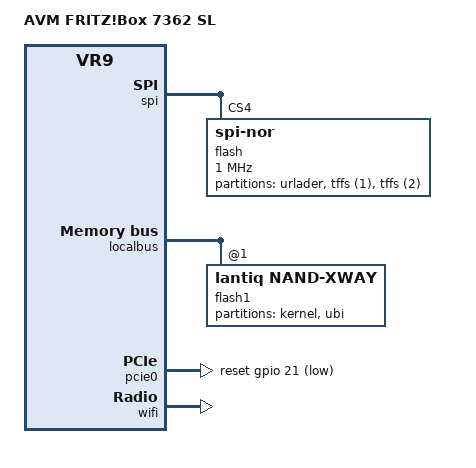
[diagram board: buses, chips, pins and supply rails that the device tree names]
// SPDX-License-Identifier: GPL-2.0-or-later OR MIT

#include "vr9_avm_fritz736x.dtsi"

/ {
	compatible = "avm,fritz7362sl", "avm,fritz736x", "lantiq,xway", "lantiq,vr9";
	model = "AVM FRITZ!Box 7362 SL";
};

&gpio {
	pinctrl-names = "default";
	pinctrl-0 = <&state_default>;

	state_default: pinmux {
		pcie-rst {
			lantiq,pins = "io21";
			lantiq,pull = <0>;
			lantiq,output = <1>;
		};

		phy-rst {
			lantiq,pins = "io44", "io45";
			lantiq,pull = <0>;
			lantiq,open-drain;
			lantiq,output = <1>;
		};
	};

};

&spi {
	status = "okay";

	flash@4 {
		compatible = "jedec,spi-nor";
		reg = <4>;
		spi-max-frequency = <1000000>;

		partitions {
			compatible = "fixed-partitions";
			#address-cells = <1>;
			#size-cells = <1>;

			urlader: partition@0 {
				reg = <0x0 0x40000>;
				label = "urlader";
				read-only;

				nvmem-layout {
					compatible = "fixed-layout";
					#address-cells = <1>;
					#size-cells = <1>;

					macaddr_urlader_a91: macaddr@a91 {
						compatible = "mac-base";
						reg = <0xa91 0x6>;
						#nvmem-cell-cells = <1>;
					};
				};
			};

			partition@40000 {
				reg = <0x40000 0x60000>;
				label = "tffs (1)";
				read-only;
			};

			partition@A0000 {
				reg = <0xA0000 0x60000>;
				label = "tffs (2)";
				read-only;
			};
		};
	};
};

&localbus {
	flash1: flash@1 {
		compatible = "lantiq,nand-xway";
		lantiq,cs1 = <1>;
		bank-width = <1>;
		reg = <1 0x0 0x2000000>;

		pinctrl-0 = <&nand_pins>, <&nand_cs1_pins>;
		pinctrl-names = "default";

		nand-ecc-engine = <&flash1>;

		partitions {
			compatible = "fixed-partitions";
			#address-cells = <1>;
			#size-cells = <1>;

			partition@0 {
				label = "kernel";
				reg = <0x0 0x400000>;
			};

			partition@400000 {
				label = "ubi";
				reg = <0x400000 0x7c00000>;
			};
		};
	};
};

&pcie0 {
	reset-gpios = <&gpio 21 GPIO_ACTIVE_LOW>;
};

&eth0 {
	nvmem-cells = <&macaddr_urlader_a91 (-2)>;
	nvmem-cell-names = "mac-address";
};

&phy0 {
	reset-gpios = <&gpio 45 GPIO_ACTIVE_LOW>;
};

&phy1 {
	reset-gpios = <&gpio 44 GPIO_ACTIVE_LOW>;
};

&wifi {
	compatible = "pci168c,0030";
	qca,no-eeprom; /* load from ath9k-eeprom-pci-0000:01:00.0.bin */
};
